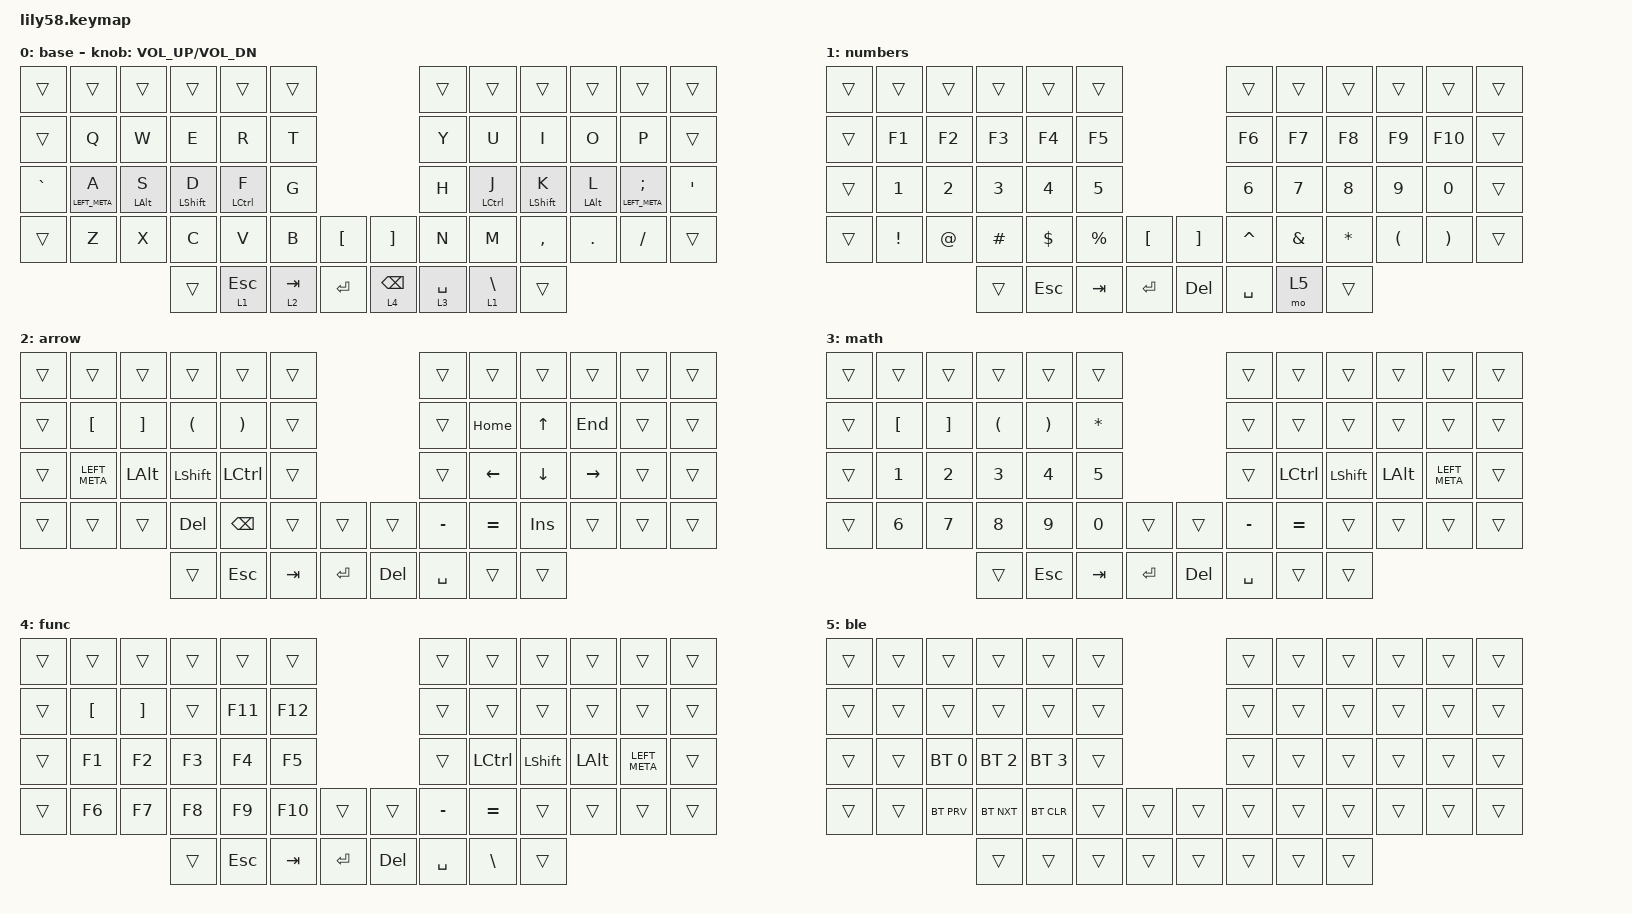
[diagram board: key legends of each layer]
/*
 * Copyright (c) 2020 The ZMK Contributors
 *
 * SPDX-License-Identifier: MIT
 */

#include <dt-bindings/zmk/mouse.h>
#include <behaviors.dtsi>
#include <dt-bindings/zmk/bt.h>
#include <dt-bindings/zmk/keys.h>

/ {
    combos {
        compatible = "zmk,combos";

        combo_esc {
            timeout-ms = <50>;
            key-positions = <0 1>;
            bindings = <&kp ESC>;
        };
    };

    behaviors {
        ss_hs_modmorph: ss_hs_modmorph {
            compatible = "zmk,behavior-mod-morph";
            label = "SS_HS_MODMORPH";
            bindings = <&kp M>, <&kp RIGHT_BRACKET>;

            #binding-cells = <0>;
            mods = <(MOD_LSFT|MOD_RSFT)>;
        };

        kh_hs_tapdance: kh_hs_tapdance {
            compatible = "zmk,behavior-tap-dance";
            label = "KH_HS_TAPDANCE";
            #binding-cells = <0>;
            tapping-term-ms = <200>;
            bindings = <&kp LEFT_BRACKET>, <&kp RIGHT_BRACKET>;
        };

        hrm: hrm {
            compatible = "zmk,behavior-hold-tap";
            #binding-cells = <2>;
            flavor = "balanced";
            tapping-term-ms = <200>;
            quick-tap-ms = <155>;
            bindings = <&kp>, <&kp>;

            require-prior-idle-ms = <125>;
        };
    };

    keymap {
        compatible = "zmk,keymap";

        base {
            // ------------------------------------------------------------------------------------------------------------
            // |  ESC  |  1  |  2  |  3   |  4   |  5   |                   |  6   |  7    |  8    |  9   |   0   |   `   |
            // |  TAB  |  Q  |  W  |  E   |  R   |  T   |                   |  Y   |  U    |  I    |  O   |   P   |   -   |
            // |  CTRL |  A  |  S  |  D   |  F   |  G   |                   |  H   |  J    |  K    |  L   |   ;   |   '   |
            // | SHIFT |  Z  |  X  |  C   |  V   |  B   |   "["  |  |  "]"  |  N   |  M    |  ,    |  .   |   /   | SHIFT |
            //                     | ALT  | GUI  | LOWER|  SPACE |  | ENTER | RAISE| BSPC  | GUI   |

            bindings = <
&trans     &trans            &trans           &trans             &trans        &trans                                   &trans       &trans           &trans         &trans           &trans               &trans
&trans     &kp Q             &kp W            &kp E              &kp R         &kp T                                    &kp Y        &kp U            &kp I          &kp O            &kp P                &trans
&kp GRAVE  &hrm LEFT_META A  &hrm LEFT_ALT S  &hrm LEFT_SHIFT D  &hrm LCTRL F  &kp G                                    &kp H        &hrm LCTRL J     &hrm LSHIFT K  &hrm LEFT_ALT L  &hrm LEFT_META SEMI  &kp SQT
&trans     &kp Z             &kp X            &kp C              &kp V         &kp B      &kp LBKT     &kp RBKT         &kp N        &kp M            &kp COMMA      &kp DOT          &kp FSLH             &trans
                                              &trans             &lt 1 ESC     &lt 2 TAB  &kp ENTER    &lt 4 BACKSPACE  &lt 3 SPACE  &lt 1 BACKSLASH  &trans
            >;

            sensor-bindings = <&inc_dec_kp C_VOL_UP C_VOL_DN>;
        };

        numbers {
            bindings = <
&trans  &trans           &trans       &trans    &trans      &trans                               &trans     &trans         &trans        &trans                &trans                 &trans
&trans  &kp F1           &kp F2       &kp F3    &kp F4      &kp F5                               &kp F6     &kp F7         &kp F8        &kp F9                &kp F10                &trans
&trans  &kp N1           &kp N2       &kp N3    &kp N4      &kp N5                               &kp N6     &kp N7         &kp N8        &kp N9                &kp N0                 &trans
&trans  &kp EXCLAMATION  &kp AT_SIGN  &kp HASH  &kp DOLLAR  &kp PERCENT  &kp LBKT    &kp RBKT    &kp CARET  &kp AMPERSAND  &kp ASTERISK  &kp LEFT_PARENTHESIS  &kp RIGHT_PARENTHESIS  &trans
                                      &trans    &kp ESC     &kp TAB      &kp RET     &kp DELETE  &kp SPACE  &mo 5          &trans
            >;
        };

        arrow {
            bindings = <
&trans  &trans         &trans        &trans                &trans                 &trans                          &trans     &trans     &trans      &trans     &trans  &trans
&trans  &kp LBKT       &kp RBKT      &kp LEFT_PARENTHESIS  &kp RIGHT_PARENTHESIS  &trans                          &trans     &kp HOME   &kp UP      &kp END    &trans  &trans
&trans  &kp LEFT_META  &kp LEFT_ALT  &kp LSHFT             &kp LCTRL              &trans                          &trans     &kp LEFT   &kp DOWN    &kp RIGHT  &trans  &trans
&trans  &trans         &trans        &kp DEL               &kp BSPC               &trans   &trans     &trans      &kp MINUS  &kp EQUAL  &kp INSERT  &trans     &trans  &trans
                                     &trans                &kp ESC                &kp TAB  &kp RET    &kp DELETE  &kp SPACE  &trans     &trans
            >;
        };

        math {
            bindings = <
&trans  &trans            &trans             &trans                &trans                 &trans                            &trans     &trans     &trans     &trans        &trans         &trans
&trans  &kp LEFT_BRACKET  &kp RIGHT_BRACKET  &kp LEFT_PARENTHESIS  &kp RIGHT_PARENTHESIS  &kp ASTERISK                      &trans     &trans     &trans     &trans        &trans         &trans
&trans  &kp N1            &kp N2             &kp N3                &kp N4                 &kp N5                            &trans     &kp LCTRL  &kp LSHFT  &kp LEFT_ALT  &kp LEFT_META  &trans
&trans  &kp N6            &kp N7             &kp N8                &kp N9                 &kp N0        &trans     &trans   &kp MINUS  &kp EQUAL  &trans     &trans        &trans         &trans
                                             &trans                &kp ESC                &kp TAB       &kp RET    &kp DEL  &kp SPACE  &trans     &trans
            >;
        };

        func {
            bindings = <
&trans  &trans            &trans             &trans  &trans   &trans                       &trans     &trans     &trans     &trans        &trans         &trans
&trans  &kp LEFT_BRACKET  &kp RIGHT_BRACKET  &trans  &kp F11  &kp F12                      &trans     &trans     &trans     &trans        &trans         &trans
&trans  &kp F1            &kp F2             &kp F3  &kp F4   &kp F5                       &trans     &kp LCTRL  &kp LSHFT  &kp LEFT_ALT  &kp LEFT_META  &trans
&trans  &kp F6            &kp F7             &kp F8  &kp F9   &kp F10  &trans     &trans   &kp MINUS  &kp EQUAL  &trans     &trans        &trans         &trans
                                             &trans  &kp ESC  &kp TAB  &kp RET    &kp DEL  &kp SPACE  &kp BSLH   &trans
            >;
        };

        ble {
            bindings = <
&trans  &trans  &trans        &trans        &trans        &trans                    &trans  &trans  &trans  &trans  &trans  &trans
&trans  &trans  &trans        &trans        &trans        &trans                    &trans  &trans  &trans  &trans  &trans  &trans
&trans  &trans  &bt BT_SEL 0  &bt BT_SEL 2  &bt BT_SEL 3  &trans                    &trans  &trans  &trans  &trans  &trans  &trans
&trans  &trans  &bt BT_PRV    &bt BT_NXT    &bt BT_CLR    &trans  &trans    &trans  &trans  &trans  &trans  &trans  &trans  &trans
                              &trans        &trans        &trans  &trans    &trans  &trans  &trans  &trans
            >;
        };
    };
};
